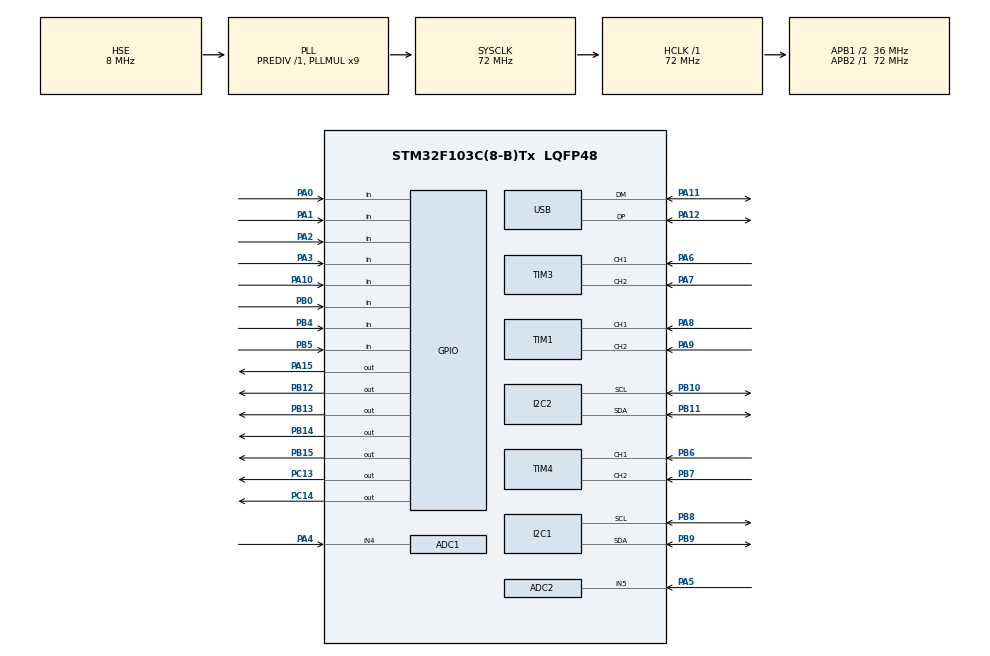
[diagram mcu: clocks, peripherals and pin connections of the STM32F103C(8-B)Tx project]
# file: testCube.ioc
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ADC1.Channel-0\#ChannelRegularConversion=ADC_CHANNEL_4
ADC1.NbrOfConversionFlag=1
ADC1.Rank-0\#ChannelRegularConversion=1
ADC1.SamplingTime-0\#ChannelRegularConversion=ADC_SAMPLETIME_1CYCLE_5
ADC1.master=1
ADC2.Channel-0\#ChannelRegularConversion=ADC_CHANNEL_5
ADC2.NbrOfConversionFlag=1
ADC2.Rank-0\#ChannelRegularConversion=1
ADC2.SamplingTime-0\#ChannelRegularConversion=ADC_SAMPLETIME_1CYCLE_5
FREERTOS.Tasks01=displayTask,24,128,StartDefaultTask,Default,NULL,Dynamic,NULL,NULL;keyBoardTask,48,64,StartTask02,As external,NULL,Dynamic,NULL,NULL;i2cTask,40,64,StartTask03,As external,NULL,Dynamic,NULL,NULL
FREERTOS.configMINIMAL_STACK_SIZE=64
FREERTOS.configTIMER_TASK_STACK_DEPTH=64
FREERTOS.configTOTAL_HEAP_SIZE=4096
Mcu.Family=STM32F1
Mcu.Name=STM32F103C(8-B)Tx
Mcu.Package=LQFP48
NVIC.PriorityGroup=NVIC_PRIORITYGROUP_4
NVIC.TIM2_IRQn=true\:15\:0\:false\:false\:true\:false\:false\:true\:true
NVIC.TimeBase=TIM2_IRQn
NVIC.TimeBaseIP=TIM2
PA0-WKUP.GPIO_PuPd=GPIO_PULLDOWN
PA0-WKUP.Signal=GPIO_Input
PA1.GPIO_PuPd=GPIO_PULLDOWN
PA1.Signal=GPIO_Input
PA10.Signal=GPIO_Input
PA11.Mode=Device
PA11.Signal=USB_DM
PA12.Mode=Device
PA12.Signal=USB_DP
PA13.Mode=Trace_Asynchronous_SW
PA13.Signal=SYS_JTMS-SWDIO
PA14.Mode=Trace_Asynchronous_SW
PA14.Signal=SYS_JTCK-SWCLK
PA15.Signal=GPIO_Output
PA2.GPIO_PuPd=GPIO_PULLDOWN
PA2.Signal=GPIO_Input
PA3.GPIO_PuPd=GPIO_PULLDOWN
PA3.Signal=GPIO_Input
PA4.Signal=ADCx_IN4
PA5.Signal=ADCx_IN5
PA6.Signal=S_TIM3_CH1
PA7.Signal=S_TIM3_CH2
PA8.Signal=S_TIM1_CH1
PA9.Signal=S_TIM1_CH2
PB0.Signal=GPIO_Input
PB1.Signal=S_TIM3_CH4
PB10.Mode=I2C
PB10.Signal=I2C2_SCL
PB11.Mode=I2C
PB11.Signal=I2C2_SDA
PB12.GPIO_PuPd=GPIO_NOPULL
PB12.Signal=GPIO_Output
PB13.GPIO_PuPd=GPIO_NOPULL
PB13.Signal=GPIO_Output
PB14.GPIO_PuPd=GPIO_NOPULL
PB14.Signal=GPIO_Output
PB15.GPIO_PuPd=GPIO_NOPULL
PB15.Signal=GPIO_Output
PB3.Mode=Trace_Asynchronous_SW
PB3.Signal=SYS_JTDO-TRACESWO
PB4.GPIO_PuPd=GPIO_PULLUP
PB4.Signal=GPIO_Input
PB5.GPIO_PuPd=GPIO_PULLUP
PB5.Signal=GPIO_Input
PB6.Signal=S_TIM4_CH1
PB7.Signal=S_TIM4_CH2
PB8.Mode=I2C
PB8.Signal=I2C1_SCL
PB9.Mode=I2C
PB9.Signal=I2C1_SDA
PC13-TAMPER-RTC.GPIO_PuPd=GPIO_PULLDOWN
PC13-TAMPER-RTC.Signal=GPIO_Output
PC14-OSC32_IN.GPIO_PuPd=GPIO_PULLDOWN
PC14-OSC32_IN.Signal=GPIO_Output
PD0-OSC_IN.Mode=HSE-External-Oscillator
PD0-OSC_IN.Signal=RCC_OSC_IN
PD1-OSC_OUT.Mode=HSE-External-Oscillator
PD1-OSC_OUT.Signal=RCC_OSC_OUT
ProjectManager.HeapSize=0x200
ProjectManager.StackSize=0x400
ProjectManager.TargetToolchain=MDK-ARM V5.32
RCC.ADCPresc=RCC_ADCPCLK2_DIV6
RCC.AHBFreq_Value=72000000
RCC.APB1CLKDivider=RCC_HCLK_DIV2
RCC.APB1Freq_Value=36000000
RCC.APB1TimFreq_Value=72000000
RCC.APB2Freq_Value=72000000
RCC.APB2TimFreq_Value=72000000
RCC.HCLKFreq_Value=72000000
RCC.PLLMUL=RCC_PLL_MUL9
RCC.SYSCLKFreq_VALUE=72000000
RCC.SYSCLKSource=RCC_SYSCLKSOURCE_PLLCLK
RCC.USBFreq_Value=48000000
RCC.USBPrescaler=RCC_USBCLKSOURCE_PLL_DIV1_5
SH.ADCx_IN4.0=ADC1_IN4,IN4
SH.ADCx_IN5.0=ADC2_IN5,IN5
SH.S_TIM1_CH1.0=TIM1_CH1,Encoder_Interface
SH.S_TIM1_CH2.0=TIM1_CH2,Encoder_Interface
SH.S_TIM3_CH1.0=TIM3_CH1,Encoder_Interface
SH.S_TIM3_CH2.0=TIM3_CH2,Encoder_Interface
SH.S_TIM3_CH4.0=TIM3_CH4
SH.S_TIM4_CH1.0=TIM4_CH1,Encoder_Interface
SH.S_TIM4_CH2.0=TIM4_CH2,Encoder_Interface
TIM4.Channel-PWM\ Generation4\ No\ Output=TIM_CHANNEL_4
VP_FREERTOS_VS_CMSIS_V2.Mode=CMSIS_V2
VP_SYS_VS_tim2.Mode=TIM2
VP_TIM4_VS_no_output4.Mode=PWM Generation4 No Output
board=custom

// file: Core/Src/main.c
/* USER CODE BEGIN Header */
/**
 ******************************************************************************
 * @file           : main.c
 * @brief          : Main program body
 ******************************************************************************
 * @attention
 *
 * Copyright (c) 2025 STMicroelectronics.
 * All rights reserved.
 *
 * This software is licensed under terms that can be found in the LICENSE file
 * in the root directory of this software component.
 * If no LICENSE file comes with this software, it is provided AS-IS.
 *
 ******************************************************************************
 */
/* USER CODE END Header */
#include "main.h"
#include "cmsis_os.h"

ADC_HandleTypeDef hadc1;
ADC_HandleTypeDef hadc2;

I2C_HandleTypeDef hi2c1;
I2C_HandleTypeDef hi2c2;

TIM_HandleTypeDef htim1;
TIM_HandleTypeDef htim3;
TIM_HandleTypeDef htim4;

PCD_HandleTypeDef hpcd_USB_FS;

/* Definitions for displayTask */
osThreadId_t displayTaskHandle;
const osThreadAttr_t displayTask_attributes = {
  .name = "displayTask",
  .stack_size = 128 * 4,
  .priority = (osPriority_t) osPriorityNormal,
};
/* Definitions for keyBoardTask */
osThreadId_t keyBoardTaskHandle;
const osThreadAttr_t keyBoardTask_attributes = {
  .name = "keyBoardTask",
  .stack_size = 64 * 4,
  .priority = (osPriority_t) osPriorityRealtime,
};
/* Definitions for i2cTask */
osThreadId_t i2cTaskHandle;
const osThreadAttr_t i2cTask_attributes = {
  .name = "i2cTask",
  .stack_size = 64 * 4,
  .priority = (osPriority_t) osPriorityHigh,
};

void SystemClock_Config(void);
static void MX_GPIO_Init(void);
static void MX_I2C1_Init(void);
static void MX_I2C2_Init(void);
static void MX_TIM1_Init(void);
static void MX_TIM3_Init(void);
static void MX_TIM4_Init(void);
static void MX_ADC1_Init(void);
static void MX_ADC2_Init(void);
static void MX_USB_PCD_Init(void);
extern void StartKeyBoardTask(void *argument);
extern void StartDisplayTask(void *argument);
extern void StartI2CTask(void *argument);

int main(void)
{

  /* MCU Configuration--------------------------------------------------------*/

  /* Reset of all peripherals, Initializes the Flash interface and the Systick. */
  HAL_Init();

  /* Configure the system clock */
  SystemClock_Config();

  /* Initialize all configured peripherals */
  MX_GPIO_Init();
  MX_I2C1_Init();
  MX_I2C2_Init();
  MX_TIM1_Init();
  MX_TIM3_Init();
  MX_TIM4_Init();
  MX_ADC1_Init();
  MX_ADC2_Init();
  MX_USB_PCD_Init();

  /* Init scheduler */
  osKernelInitialize();

  /* Create the thread(s) */
  /* creation of displayTask */
   displayTaskHandle = osThreadNew(StartDisplayTask, NULL, &displayTask_attributes);

  /* creation of keyBoardTask */
//  keyBoardTaskHandle = osThreadNew(StartKeyBoardTask, NULL, &keyBoardTask_attributes);

  /* creation of i2cTask */
//  i2cTaskHandle = osThreadNew(StartI2CTask, NULL, &i2cTask_attributes);

  /* Start scheduler */
  osKernelStart();

  /* We should never get here as control is now taken by the scheduler */
  /* Infinite loop */
    while (1)
    {

    }
}

void SystemClock_Config(void)
{
  RCC_OscInitTypeDef RCC_OscInitStruct = {0};
  RCC_ClkInitTypeDef RCC_ClkInitStruct = {0};
  RCC_PeriphCLKInitTypeDef PeriphClkInit = {0};

  /** Initializes the RCC Oscillators according to the specified parameters
  * in the RCC_OscInitTypeDef structure.
  */
  RCC_OscInitStruct.OscillatorType = RCC_OSCILLATORTYPE_HSE;
  RCC_OscInitStruct.HSEState = RCC_HSE_ON;
  RCC_OscInitStruct.HSEPredivValue = RCC_HSE_PREDIV_DIV1;
  RCC_OscInitStruct.HSIState = RCC_HSI_ON;
  RCC_OscInitStruct.PLL.PLLState = RCC_PLL_ON;
  RCC_OscInitStruct.PLL.PLLSource = RCC_PLLSOURCE_HSE;
  RCC_OscInitStruct.PLL.PLLMUL = RCC_PLL_MUL9;
  if (HAL_RCC_OscConfig(&RCC_OscInitStruct) != HAL_OK)
  {
    Error_Handler();
  }

  /** Initializes the CPU, AHB and APB buses clocks
  */
  RCC_ClkInitStruct.ClockType = RCC_CLOCKTYPE_HCLK|RCC_CLOCKTYPE_SYSCLK
                              |RCC_CLOCKTYPE_PCLK1|RCC_CLOCKTYPE_PCLK2;
  RCC_ClkInitStruct.SYSCLKSource = RCC_SYSCLKSOURCE_PLLCLK;
  RCC_ClkInitStruct.AHBCLKDivider = RCC_SYSCLK_DIV1;
  RCC_ClkInitStruct.APB1CLKDivider = RCC_HCLK_DIV2;
  RCC_ClkInitStruct.APB2CLKDivider = RCC_HCLK_DIV1;

  if (HAL_RCC_ClockConfig(&RCC_ClkInitStruct, FLASH_LATENCY_2) != HAL_OK)
  {
    Error_Handler();
  }
  PeriphClkInit.PeriphClockSelection = RCC_PERIPHCLK_ADC|RCC_PERIPHCLK_USB;
  PeriphClkInit.AdcClockSelection = RCC_ADCPCLK2_DIV6;
  PeriphClkInit.UsbClockSelection = RCC_USBCLKSOURCE_PLL_DIV1_5;
  if (HAL_RCCEx_PeriphCLKConfig(&PeriphClkInit) != HAL_OK)
  {
    Error_Handler();
  }
}

static void MX_ADC1_Init(void)
{

  ADC_ChannelConfTypeDef sConfig = {0};

  /** Common config
  */
  hadc1.Instance = ADC1;
  hadc1.Init.ScanConvMode = ADC_SCAN_DISABLE;
  hadc1.Init.ContinuousConvMode = DISABLE;
  hadc1.Init.DiscontinuousConvMode = DISABLE;
  hadc1.Init.ExternalTrigConv = ADC_SOFTWARE_START;
  hadc1.Init.DataAlign = ADC_DATAALIGN_RIGHT;
  hadc1.Init.NbrOfConversion = 1;
  if (HAL_ADC_Init(&hadc1) != HAL_OK)
  {
    Error_Handler();
  }

  /** Configure Regular Channel
  */
  sConfig.Channel = ADC_CHANNEL_4;
  sConfig.Rank = ADC_REGULAR_RANK_1;
  sConfig.SamplingTime = ADC_SAMPLETIME_1CYCLE_5;
  if (HAL_ADC_ConfigChannel(&hadc1, &sConfig) != HAL_OK)
  {
    Error_Handler();
  }

}

static void MX_ADC2_Init(void)
{

  ADC_ChannelConfTypeDef sConfig = {0};

  /** Common config
  */
  hadc2.Instance = ADC2;
  hadc2.Init.ScanConvMode = ADC_SCAN_DISABLE;
  hadc2.Init.ContinuousConvMode = DISABLE;
  hadc2.Init.DiscontinuousConvMode = DISABLE;
  hadc2.Init.ExternalTrigConv = ADC_SOFTWARE_START;
  hadc2.Init.DataAlign = ADC_DATAALIGN_RIGHT;
  hadc2.Init.NbrOfConversion = 1;
  if (HAL_ADC_Init(&hadc2) != HAL_OK)
  {
    Error_Handler();
  }

  /** Configure Regular Channel
  */
  sConfig.Channel = ADC_CHANNEL_5;
  sConfig.Rank = ADC_REGULAR_RANK_1;
  sConfig.SamplingTime = ADC_SAMPLETIME_1CYCLE_5;
  if (HAL_ADC_ConfigChannel(&hadc2, &sConfig) != HAL_OK)
  {
    Error_Handler();
  }

}

static void MX_I2C1_Init(void)
{

  hi2c1.Instance = I2C1;
  hi2c1.Init.ClockSpeed = 100000;
  hi2c1.Init.DutyCycle = I2C_DUTYCYCLE_2;
  hi2c1.Init.OwnAddress1 = 0;
  hi2c1.Init.AddressingMode = I2C_ADDRESSINGMODE_7BIT;
  hi2c1.Init.DualAddressMode = I2C_DUALADDRESS_DISABLE;
  hi2c1.Init.OwnAddress2 = 0;
  hi2c1.Init.GeneralCallMode = I2C_GENERALCALL_DISABLE;
  hi2c1.Init.NoStretchMode = I2C_NOSTRETCH_DISABLE;
  if (HAL_I2C_Init(&hi2c1) != HAL_OK)
  {
    Error_Handler();
  }

}

static void MX_I2C2_Init(void)
{

  hi2c2.Instance = I2C2;
  hi2c2.Init.ClockSpeed = 100000;
  hi2c2.Init.DutyCycle = I2C_DUTYCYCLE_2;
  hi2c2.Init.OwnAddress1 = 0;
  hi2c2.Init.AddressingMode = I2C_ADDRESSINGMODE_7BIT;
  hi2c2.Init.DualAddressMode = I2C_DUALADDRESS_DISABLE;
  hi2c2.Init.OwnAddress2 = 0;
  hi2c2.Init.GeneralCallMode = I2C_GENERALCALL_DISABLE;
  hi2c2.Init.NoStretchMode = I2C_NOSTRETCH_DISABLE;
  if (HAL_I2C_Init(&hi2c2) != HAL_OK)
  {
    Error_Handler();
  }

}

static void MX_TIM1_Init(void)
{

  TIM_Encoder_InitTypeDef sConfig = {0};
  TIM_MasterConfigTypeDef sMasterConfig = {0};

  htim1.Instance = TIM1;
  htim1.Init.Prescaler = 0;
  htim1.Init.CounterMode = TIM_COUNTERMODE_UP;
  htim1.Init.Period = 65535;
  htim1.Init.ClockDivision = TIM_CLOCKDIVISION_DIV1;
  htim1.Init.RepetitionCounter = 0;
  htim1.Init.AutoReloadPreload = TIM_AUTORELOAD_PRELOAD_DISABLE;
  sConfig.EncoderMode = TIM_ENCODERMODE_TI1;
  sConfig.IC1Polarity = TIM_ICPOLARITY_RISING;
  sConfig.IC1Selection = TIM_ICSELECTION_DIRECTTI;
  sConfig.IC1Prescaler = TIM_ICPSC_DIV1;
  sConfig.IC1Filter = 0;
  sConfig.IC2Polarity = TIM_ICPOLARITY_RISING;
  sConfig.IC2Selection = TIM_ICSELECTION_DIRECTTI;
  sConfig.IC2Prescaler = TIM_ICPSC_DIV1;
  sConfig.IC2Filter = 0;
  if (HAL_TIM_Encoder_Init(&htim1, &sConfig) != HAL_OK)
  {
    Error_Handler();
  }
  sMasterConfig.MasterOutputTrigger = TIM_TRGO_RESET;
  sMasterConfig.MasterSlaveMode = TIM_MASTERSLAVEMODE_DISABLE;
  if (HAL_TIMEx_MasterConfigSynchronization(&htim1, &sMasterConfig) != HAL_OK)
  {
    Error_Handler();
  }

}

static void MX_TIM3_Init(void)
{

  TIM_Encoder_InitTypeDef sConfig = {0};
  TIM_MasterConfigTypeDef sMasterConfig = {0};

  htim3.Instance = TIM3;
  htim3.Init.Prescaler = 0;
  htim3.Init.CounterMode = TIM_COUNTERMODE_UP;
  htim3.Init.Period = 65535;
  htim3.Init.ClockDivision = TIM_CLOCKDIVISION_DIV1;
  htim3.Init.AutoReloadPreload = TIM_AUTORELOAD_PRELOAD_DISABLE;
  sConfig.EncoderMode = TIM_ENCODERMODE_TI1;
  sConfig.IC1Polarity = TIM_ICPOLARITY_RISING;
  sConfig.IC1Selection = TIM_ICSELECTION_DIRECTTI;
  sConfig.IC1Prescaler = TIM_ICPSC_DIV1;
  sConfig.IC1Filter = 0;
  sConfig.IC2Polarity = TIM_ICPOLARITY_RISING;
  sConfig.IC2Selection = TIM_ICSELECTION_DIRECTTI;
  sConfig.IC2Prescaler = TIM_ICPSC_DIV1;
  sConfig.IC2Filter = 0;
  if (HAL_TIM_Encoder_Init(&htim3, &sConfig) != HAL_OK)
  {
    Error_Handler();
  }
  sMasterConfig.MasterOutputTrigger = TIM_TRGO_RESET;
  sMasterConfig.MasterSlaveMode = TIM_MASTERSLAVEMODE_DISABLE;
  if (HAL_TIMEx_MasterConfigSynchronization(&htim3, &sMasterConfig) != HAL_OK)
  {
    Error_Handler();
  }

}

static void MX_TIM4_Init(void)
{

  TIM_Encoder_InitTypeDef sConfig = {0};
  TIM_MasterConfigTypeDef sMasterConfig = {0};
  TIM_OC_InitTypeDef sConfigOC = {0};

  htim4.Instance = TIM4;
  htim4.Init.Prescaler = 0;
  htim4.Init.CounterMode = TIM_COUNTERMODE_UP;
  htim4.Init.Period = 65535;
  htim4.Init.ClockDivision = TIM_CLOCKDIVISION_DIV1;
  htim4.Init.AutoReloadPreload = TIM_AUTORELOAD_PRELOAD_DISABLE;
  if (HAL_TIM_PWM_Init(&htim4) != HAL_OK)
  {
    Error_Handler();
  }
  sConfig.EncoderMode = TIM_ENCODERMODE_TI1;
  sConfig.IC1Polarity = TIM_ICPOLARITY_RISING;
  sConfig.IC1Selection = TIM_ICSELECTION_DIRECTTI;
  sConfig.IC1Prescaler = TIM_ICPSC_DIV1;
  sConfig.IC1Filter = 0;
  sConfig.IC2Polarity = TIM_ICPOLARITY_RISING;
  sConfig.IC2Selection = TIM_ICSELECTION_DIRECTTI;
  sConfig.IC2Prescaler = TIM_ICPSC_DIV1;
  sConfig.IC2Filter = 0;
  if (HAL_TIM_Encoder_Init(&htim4, &sConfig) != HAL_OK)
  {
    Error_Handler();
  }
  sMasterConfig.MasterOutputTrigger = TIM_TRGO_RESET;
  sMasterConfig.MasterSlaveMode = TIM_MASTERSLAVEMODE_DISABLE;
  if (HAL_TIMEx_MasterConfigSynchronization(&htim4, &sMasterConfig) != HAL_OK)
  {
    Error_Handler();
  }
  sConfigOC.OCMode = TIM_OCMODE_PWM1;
  sConfigOC.Pulse = 0;
  sConfigOC.OCPolarity = TIM_OCPOLARITY_HIGH;
  sConfigOC.OCFastMode = TIM_OCFAST_DISABLE;
  if (HAL_TIM_PWM_ConfigChannel(&htim4, &sConfigOC, TIM_CHANNEL_4) != HAL_OK)
  {
    Error_Handler();
  }

}

static void MX_USB_PCD_Init(void)
{

  hpcd_USB_FS.Instance = USB;
  hpcd_USB_FS.Init.dev_endpoints = 8;
  hpcd_USB_FS.Init.speed = PCD_SPEED_FULL;
  hpcd_USB_FS.Init.low_power_enable = DISABLE;
  hpcd_USB_FS.Init.lpm_enable = DISABLE;
  hpcd_USB_FS.Init.battery_charging_enable = DISABLE;
  if (HAL_PCD_Init(&hpcd_USB_FS) != HAL_OK)
  {
    Error_Handler();
  }

}

static void MX_GPIO_Init(void)
{
  GPIO_InitTypeDef GPIO_InitStruct = {0};

  /* GPIO Ports Clock Enable */
  __HAL_RCC_GPIOC_CLK_ENABLE();
  __HAL_RCC_GPIOD_CLK_ENABLE();
  __HAL_RCC_GPIOA_CLK_ENABLE();
  __HAL_RCC_GPIOB_CLK_ENABLE();

  /*Configure GPIO pin Output Level */
  HAL_GPIO_WritePin(GPIOC, GPIO_PIN_13|GPIO_PIN_14, GPIO_PIN_RESET);

  /*Configure GPIO pin Output Level */
  HAL_GPIO_WritePin(GPIOB, GPIO_PIN_12|GPIO_PIN_13|GPIO_PIN_14|GPIO_PIN_15, GPIO_PIN_RESET);

  /*Configure GPIO pin Output Level */
  HAL_GPIO_WritePin(GPIOA, GPIO_PIN_15, GPIO_PIN_RESET);

  /*Configure GPIO pins : PC13 PC14 */
  GPIO_InitStruct.Pin = GPIO_PIN_13|GPIO_PIN_14;
  GPIO_InitStruct.Mode = GPIO_MODE_OUTPUT_PP;
  GPIO_InitStruct.Pull = GPIO_PULLDOWN;
  GPIO_InitStruct.Speed = GPIO_SPEED_FREQ_LOW;
  HAL_GPIO_Init(GPIOC, &GPIO_InitStruct);

  /*Configure GPIO pins : PA0 PA1 PA2 PA3 */
  GPIO_InitStruct.Pin = GPIO_PIN_0|GPIO_PIN_1|GPIO_PIN_2|GPIO_PIN_3;
  GPIO_InitStruct.Mode = GPIO_MODE_INPUT;
  GPIO_InitStruct.Pull = GPIO_PULLDOWN;
  HAL_GPIO_Init(GPIOA, &GPIO_InitStruct);

  /*Configure GPIO pin : PB0 */
  GPIO_InitStruct.Pin = GPIO_PIN_0;
  GPIO_InitStruct.Mode = GPIO_MODE_INPUT;
  GPIO_InitStruct.Pull = GPIO_NOPULL;
  HAL_GPIO_Init(GPIOB, &GPIO_InitStruct);

  /*Configure GPIO pins : PB12 PB13 PB14 PB15 */
  GPIO_InitStruct.Pin = GPIO_PIN_12|GPIO_PIN_13|GPIO_PIN_14|GPIO_PIN_15;
  GPIO_InitStruct.Mode = GPIO_MODE_OUTPUT_PP;
  GPIO_InitStruct.Pull = GPIO_NOPULL;
  GPIO_InitStruct.Speed = GPIO_SPEED_FREQ_LOW;
  HAL_GPIO_Init(GPIOB, &GPIO_InitStruct);

  /*Configure GPIO pin : PA10 */
  GPIO_InitStruct.Pin = GPIO_PIN_10;
  GPIO_InitStruct.Mode = GPIO_MODE_INPUT;
  GPIO_InitStruct.Pull = GPIO_NOPULL;
  HAL_GPIO_Init(GPIOA, &GPIO_InitStruct);

  /*Configure GPIO pin : PA15 */
  GPIO_InitStruct.Pin = GPIO_PIN_15;
  GPIO_InitStruct.Mode = GPIO_MODE_OUTPUT_PP;
  GPIO_InitStruct.Pull = GPIO_NOPULL;
  GPIO_InitStruct.Speed = GPIO_SPEED_FREQ_LOW;
  HAL_GPIO_Init(GPIOA, &GPIO_InitStruct);

  /*Configure GPIO pins : PB4 PB5 */
  GPIO_InitStruct.Pin = GPIO_PIN_4|GPIO_PIN_5;
  GPIO_InitStruct.Mode = GPIO_MODE_INPUT;
  GPIO_InitStruct.Pull = GPIO_PULLUP;
  HAL_GPIO_Init(GPIOB, &GPIO_InitStruct);

}

void StartDefaultTask(void *argument)
{
  /* USER CODE BEGIN 5 */
    /* Infinite loop */
    for (;;)
    {
//        HAL_GPIO_TogglePin(GPIOC, GPIO_PIN_13);

//        memset(data, 0, sizeof(data));
//        memset(button, 0x30, sizeof(button));

//        lcdInit(&hi2c1, (uint8_t)0x27, (uint8_t)20, (uint8_t)4);
//        osDelay(200);
    }
  /* USER CODE END 5 */
}

void HAL_TIM_PeriodElapsedCallback(TIM_HandleTypeDef *htim)
{
  if (htim->Instance == TIM2) {
    HAL_IncTick();
  }
}

void Error_Handler(void)
{
    __disable_irq();
    while (1)
    {
    }
}

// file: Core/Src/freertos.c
/* USER CODE BEGIN Header */
/**
 ******************************************************************************
 * File Name          : freertos.c
 * Description        : Code for freertos applications
 ******************************************************************************
 * @attention
 *
 * Copyright (c) 2025 STMicroelectronics.
 * All rights reserved.
 *
 * This software is licensed under terms that can be found in the LICENSE file
 * in the root directory of this software component.
 * If no LICENSE file comes with this software, it is provided AS-IS.
 *
 ******************************************************************************
 */
/* USER CODE END Header */

#include "FreeRTOS.h"
#include "cmsis_os.h"
#include "main.h"
#include "task.h"
#include <string.h>

/* USER CODE BEGIN Variables */
extern ADC_HandleTypeDef hadc1;
extern ADC_HandleTypeDef hadc2;

extern I2C_HandleTypeDef hi2c1;
extern I2C_HandleTypeDef hi2c2;

extern TIM_HandleTypeDef htim1;
extern TIM_HandleTypeDef htim3;
extern TIM_HandleTypeDef htim4;

extern osThreadId_t keyBoardTaskHandle;
extern osThreadAttr_t keyBoardTask_attributes;
//-------------------------
// OS Threads
//-------------------------

uint8_t keyScanBuff[6];

uint32_t conditoonAll[6];

uint8_t checkerAll[6];
enum state {
	FIRST,
	BUTTON_CHECK,
	PWM,
	I2C_CHECK
};
enum direction{
	LEFT,
	RIGHT
};
const uint16_t left_button = ((uint16_t)0x0020);
const uint16_t right_button = ((uint16_t)0x0010);
const uint8_t zero = 0x6F;
const uint8_t point = 0xA5;
const uint8_t voskl = 0x21;

// uint8_t data[7];
const uint8_t slaveAdress[6] = {0x22, 0x32, 0x42, 0x52, 0x62, 0x72};

uint8_t i2cDataBuff[16];

enum state change_state( enum state st, enum direction dir){
	switch (st){
		case FIRST:
			if(dir == LEFT){
				return I2C_CHECK;
			}
			return BUTTON_CHECK;
		case BUTTON_CHECK:
			if(dir == LEFT){
				return FIRST;
			}
			return PWM;
		case PWM:
			if(dir == LEFT){
				return FIRST;
			}
		case I2C_CHECK:
			return 0;
	}
}

void writer(uint8_t i2cDataBuffCopy[7])
{
    char msg[64];
    char button[16];
    char encod1[3];
    char encod2[3];
    char encodePush1;
    char encodePush2;
    char adc1[3];
    char adc2[3];
    char adress_char[6];

    uint16_t cheker = ((i2cDataBuffCopy[0] & 0xF) << 12) | ((i2cDataBuffCopy[0] >> 4) << 8) |
                      ((i2cDataBuffCopy[1] & 0xF) << 4) | ((i2cDataBuffCopy[1] >> 8) << 8);

    lcdSetCursorPosition(4, 0);
    for (uint16_t i = 0; i < 16; i++)
    {
        button[15 - i] = 0x30 + (cheker & 0x1);
        cheker >>= 1;
    }

    lcdPrintStr(button, 12);

    lcdSetCursorPosition(0, 1);
    sprintf(encod1, "%3d", i2cDataBuffCopy[2]);

    lcdPrintStr(encod1, 3);

    lcdSetCursorPosition(4, 1);
    lcdPrintStr(((i2cDataBuffCopy[1] & 0x40) == 0x40) ? "1" : "0", 1);

    lcdSetCursorPosition(15, 1);
    lcdPrintStr(((i2cDataBuffCopy[1] & 0x80) == 0x80) ? "1" : "0", 1);

    lcdSetCursorPosition(17, 1);
    sprintf(encod1, "%3d", i2cDataBuffCopy[3]);
    lcdPrintStr(encod1, 3);

    sprintf(adc1, "%3d", i2cDataBuffCopy[4]);
    lcdSetCursorPosition(0, 3);
    lcdPrintStr(adc1, 3);

    lcdSetCursorPosition(7, 3);
    lcdPrintStr(checkerAll, 6);

    sprintf(adc2, "%3d", i2cDataBuffCopy[5]);
    lcdSetCursorPosition(17, 3);
    lcdPrintStr(adc2, 3);

    //    slaveAdress[0] = 0x22;

    //    data[0] = sizeof(i2cDataBuff);
}

/* USER CODE END Variables */

/* USER CODE BEGIN Application */
void StartKeyBoardTask(void *pvParameters)
{
    TickType_t xLastWakeTime;
    xLastWakeTime = xTaskGetTickCount();

    for (;;)
    {
			memset(keyScanBuff, 0, sizeof(keyScanBuff));
        // KeyBoard
        for (uint8_t i = 0; i < 4; i++)
        {
            HAL_GPIO_WritePin(GPIOB, GPIO_PIN_12 << i, GPIO_PIN_SET);
					  HAL_Delay(1);
            for (uint8_t j = 0; j < 4; j++)
            {
                if (HAL_GPIO_ReadPin(GPIOA, GPIO_PIN_0 << j) == GPIO_PIN_SET){
                    //keyScanBuff[i / 2] |= (1 << ((i % 2) * 4 + j));
								uint8_t bit_pos = i *4 + j;
								if (bit_pos < 8) {
                    keyScanBuff[0] |= (1 << bit_pos);
                } else {
                    keyScanBuff[1] |= (1 << (bit_pos - 8));
                }
								}
            }
            HAL_GPIO_WritePin(GPIOB, GPIO_PIN_12 << i, GPIO_PIN_RESET);
        }

//        // ADC 1
//        HAL_ADC_PollForConversion(&hadc1, 100);
//        keyScanBuff[4] = HAL_ADCEx_InjectedGetValue(&hadc1, ADC_INJECTED_RANK_1) / 16;
//        HAL_ADCEx_InjectedStop(&hadc1);

//        // ADC 2
//        HAL_ADC_PollForConversion(&hadc2, 100);
//        keyScanBuff[5] = HAL_ADCEx_InjectedGetValue(&hadc2, ADC_INJECTED_RANK_1) / 16;
//        HAL_ADCEx_InjectedStop(&hadc1);

        // Encoder 1
//        keyScanBuff[2] = __HAL_TIM_GET_COUNTER(&htim1) >> 1;

        // Encoder 2
        //		vPrintSring(pcTaskName);
   //     keyScanBuff[3] = __HAL_TIM_GET_COUNTER(&htim3) >> 1;

        osDelay(500);
    }
}

void StartDisplayTask(void *pvParameters)
{
    TickType_t xLastWakeTime;
    xLastWakeTime = xTaskGetTickCount();
 //   lcdInit(&hi2c1, (uint8_t)0x27, (uint8_t)20, (uint8_t)4);
    keyBoardTaskHandle = osThreadNew(StartKeyBoardTask, NULL, &keyBoardTask_attributes);
    uint8_t counter;
		enum state st = FIRST;
    for (;;)
    {
			if(HAL_GPIO_ReadPin(GPIOB, left_button ) == GPIO_PIN_RESET){
				st = change_state(st, LEFT);
			}
			if(HAL_GPIO_ReadPin(GPIOB, right_button ) == GPIO_PIN_RESET){
				for(uint8_t i = 0; i < 127; i++ ) {
					st = change_state(st, LEFT);
				}
			}
			counter = 0;
		switch (st){
		case FIRST:
		counter = 2;
		break;
		case BUTTON_CHECK:
		counter = 3;
		break;
		case PWM:
		counter = 4;
		break;
		case I2C_CHECK:
			counter = 1;
		break;
	}

            for (uint8_t i; i < counter; i++)
            {
                HAL_GPIO_WritePin(GPIOC, GPIO_PIN_13, GPIO_PIN_RESET);
                HAL_Delay(500);
                HAL_GPIO_WritePin(GPIOC, GPIO_PIN_13, GPIO_PIN_SET);
                HAL_Delay(500);
            }

        //		vPrintSring(pcTaskName);
        vTaskDelayUntil(&xLastWakeTime, pdMS_TO_TICKS(5000));
    }
}
//void StartI2CTask(void *pvParameters)
//{
//    TickType_t xLastWakeTime;
//    xLastWakeTime = xTaskGetTickCount();

//    //   memset(data, 0, sizeof(data));
////    memset(button, 0x30, sizeof(button));

//    uint8_t i2cDataBuffCopy[7];
//    uint8_t i2cTxDataBuff[16];
//    uint8_t current_address;

//    //	HAL_TIM_Encoder_Start(&htim1, TIM_CHANNEL_1);

//    for (;;)
//    {
//        current_address = slaveAdress[__HAL_TIM_GET_COUNTER(&htim1) >> 1];

//        for (uint8_t i = 0; i < 6; i++)
//        {

//            i2cTxDataBuff[0] = 0x41;
//            i2cTxDataBuff[1] = 0x10;

//            HAL_I2C_Master_Seq_Transmit_IT(&hi2c1, slaveAdress[i], i2cTxDataBuff, 2, I2C_FIRST_AND_LAST_FRAME);
//            while ((HAL_I2C_GetState(&hi2c1) != HAL_I2C_STATE_READY))
//            {
//            }

//            HAL_I2C_Master_Seq_Receive_IT(&hi2c1, slaveAdress[i], i2cDataBuff, 7, I2C_FIRST_AND_LAST_FRAME);
//            while (HAL_I2C_GetState(&hi2c1) != HAL_I2C_STATE_READY)
//            {
//            }
//            if (slaveAdress[i] == current_address)
//            {
//                checkerAll[i] = zero;
//                memcpy(i2cDataBuffCopy, i2cDataBuff, 7);
//            }
//            else
//            {
//                if (*(uint32_t *)i2cDataBuff == conditoonAll[i])
//                {
//                    checkerAll[i] = point;
//                }
//                else
//                {

//                    checkerAll[i] = voskl;
//                    conditoonAll[i] = *(uint32_t *)i2cDataBuff;
//                }
//            }
//            memset(i2cDataBuff, 0, 7);
//        }

//        writer(i2cDataBuffCopy);
//        vTaskDelayUntil(&xLastWakeTime, pdMS_TO_TICKS(250));
//    }
//}

/* USER CODE END Application */
